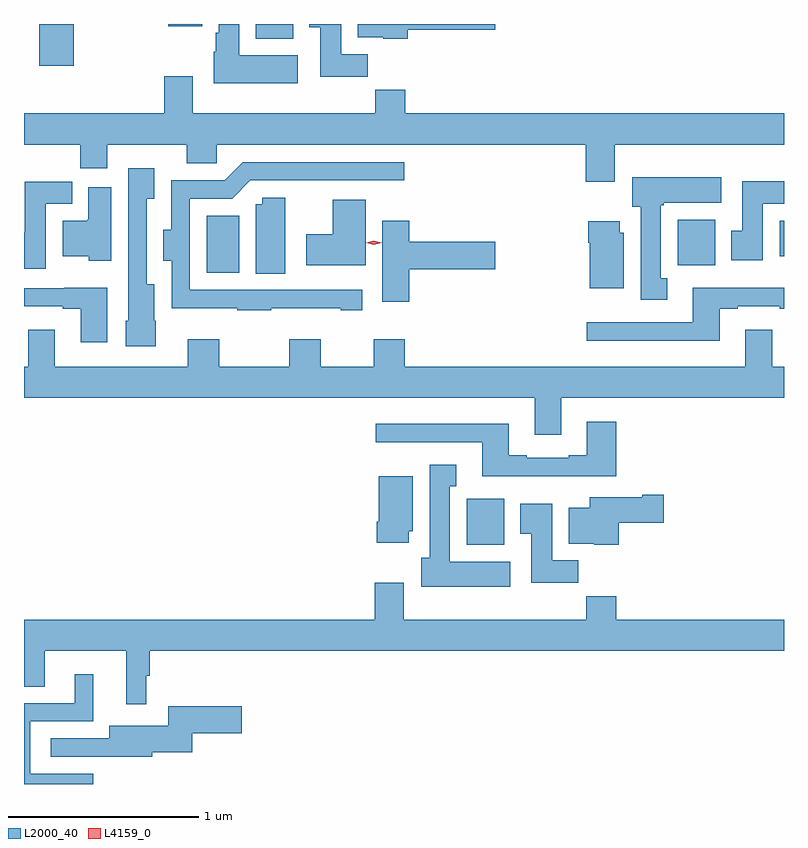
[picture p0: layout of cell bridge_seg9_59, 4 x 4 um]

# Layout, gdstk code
import gdstk
lib = gdstk.Library(unit=1e-6, precision=1e-09)
def R(c, l, rs):  # rectangles x0, y0, x1, y1
    for r in rs: c.add(gdstk.rectangle(r[:2], r[2:], *l))
def P(c, l, *ps):  # polygons
    for p in ps: c.add(gdstk.Polygon(p, *l))
L2000_40 = (2000, 40)
L4159_0 = (4159, 0)

bridge_seg9_59 = lib.new_cell('bridge_seg9_59')
R(bridge_seg9_59, L2000_40, [(1091.768,1200.974,1091.965,1201.216), (1090.4,1202.405,1090.57,1202.707), (1092.878,1202.444,1093.075,1202.686), (1093.415,1202.492,1093.438,1202.68), (1089.518,1203.495,1089.701,1203.715), (1090.659,1203.638,1090.855,1203.715), (1090.196,1203.704,1090.375,1203.715)])
P(bridge_seg9_59, L2000_40, [(1091.246,1203.556),(1091.107,1203.556),(1091.107,1203.715),(1090.94,1203.715),(1090.94,1203.697),(1090.997,1203.697),(1090.997,1203.438),(1091.246,1203.438)],
  [(1091.459,1203.685),(1091.917,1203.685),(1091.917,1203.715),(1091.195,1203.715),(1091.195,1203.644),(1091.328,1203.644),(1091.328,1203.638),(1091.459,1203.638)],
  [(1090.879,1203.55),(1090.57,1203.55),(1090.57,1203.715),(1090.463,1203.715),(1090.463,1203.67),(1090.448,1203.67),(1090.448,1203.57),(1090.436,1203.57),(1090.436,1203.404),(1090.879,1203.404)],
  [(1092.547,1203.08),(1093.438,1203.08),(1093.438,1203.244),(1091.444,1203.244),(1091.444,1203.368),(1091.287,1203.368),(1091.287,1203.244),(1090.327,1203.244),(1090.327,1203.439),(1090.175,1203.439),(1090.175,1203.244),(1089.438,1203.244),(1089.438,1203.08),(1089.733,1203.08),(1089.733,1202.956),(1089.877,1202.956),(1089.877,1203.08),(1090.294,1203.08),(1090.294,1202.982),(1090.452,1202.982),(1090.452,1203.08),(1092.395,1203.08),(1092.395,1202.886),(1092.547,1202.886)],
  [(1090.739,1202.219),(1091.105,1202.219),(1091.105,1202.208),(1091.218,1202.208),(1091.218,1202.316),(1090.311,1202.316),(1090.311,1202.796),(1090.533,1202.796),(1090.629,1202.892),(1091.44,1202.892),(1091.44,1202.988),(1090.59,1202.988),(1090.494,1202.892),(1090.214,1202.892),(1090.214,1202.632),(1090.172,1202.632),(1090.172,1202.468),(1090.215,1202.468),(1090.215,1202.219),(1090.561,1202.219),(1090.561,1202.208),(1090.739,1202.208)],
  [(1090.132,1202.154),(1090.123,1202.154),(1090.123,1202.344),(1090.083,1202.344),(1090.083,1202.795),(1090.123,1202.795),(1090.123,1202.956),(1089.987,1202.956),(1089.987,1202.154),(1089.974,1202.154),(1089.974,1202.018),(1090.132,1202.018)],
  [(1092.823,1202.378),(1092.79,1202.378),(1092.79,1202.761),(1092.804,1202.761),(1092.804,1202.774),(1093.108,1202.774),(1093.108,1202.908),(1092.638,1202.908),(1092.638,1202.754),(1092.683,1202.754),(1092.683,1202.265),(1092.823,1202.265)],
  [(1093.327,1202.768),(1093.438,1202.768),(1093.438,1202.887),(1093.217,1202.887),(1093.217,1202.628),(1093.16,1202.628),(1093.16,1202.472),(1093.327,1202.472)],
  [(1089.553,1202.768),(1089.691,1202.768),(1089.691,1202.886),(1089.443,1202.886),(1089.443,1202.62),(1089.438,1202.62),(1089.438,1202.427),(1089.553,1202.427)],
  [(1089.898,1202.857),(1089.776,1202.857),(1089.776,1202.686),(1089.77,1202.686),(1089.77,1202.68),(1089.641,1202.68),(1089.641,1202.492),(1089.78,1202.492),(1089.78,1202.468),(1089.898,1202.468)],
  [(1090.813,1202.8),(1090.692,1202.8),(1090.692,1202.766),(1090.658,1202.766),(1090.658,1202.401),(1090.813,1202.401)],
  [(1091.236,1202.791),(1091.063,1202.791),(1091.063,1202.608),(1090.923,1202.608),(1090.923,1202.444),(1091.236,1202.444)],
  [(1091.465,1202.423),(1091.917,1202.423),(1091.917,1202.57),(1091.465,1202.57),(1091.465,1202.68),(1091.324,1202.68),(1091.324,1202.253),(1091.465,1202.253)],
  [(1092.595,1202.616),(1092.574,1202.616),(1092.574,1202.677),(1092.409,1202.677),(1092.409,1202.564),(1092.416,1202.564),(1092.416,1202.324),(1092.595,1202.324)],
  [(1089.877,1202.326),(1089.649,1202.326),(1089.649,1202.325),(1089.438,1202.325),(1089.438,1202.229),(1089.641,1202.229),(1089.641,1202.217),(1089.737,1202.217),(1089.737,1202.04),(1089.877,1202.04)],
  [(1093.099,1202.217),(1093.195,1202.217),(1093.195,1202.229),(1093.415,1202.229),(1093.415,1202.217),(1093.438,1202.217),(1093.438,1202.326),(1092.959,1202.326),(1092.959,1202.145),(1092.399,1202.145),(1092.399,1202.048),(1093.099,1202.048)],
  [(1092.265,1201.748),(1093.438,1201.748),(1093.438,1201.912),(1093.375,1201.912),(1093.375,1202.107),(1093.235,1202.107),(1093.235,1201.912),(1091.443,1201.912),(1091.443,1202.056),(1091.279,1202.056),(1091.279,1201.912),(1090.999,1201.912),(1090.999,1202.056),(1090.835,1202.056),(1090.835,1201.912),(1090.465,1201.912),(1090.465,1202.056),(1090.301,1202.056),(1090.301,1201.912),(1089.601,1201.912),(1089.601,1202.107),(1089.461,1202.107),(1089.461,1201.912),(1089.438,1201.912),(1089.438,1201.748),(1092.125,1201.748),(1092.125,1201.554),(1092.265,1201.554)],
  [(1092.554,1201.621),(1092.401,1201.621),(1092.401,1201.444),(1092.305,1201.444),(1092.305,1201.431),(1092.085,1201.431),(1092.085,1201.444),(1091.989,1201.444),(1091.989,1201.612),(1091.289,1201.612),(1091.289,1201.515),(1091.849,1201.515),(1091.849,1201.334),(1092.554,1201.334)],
  [(1091.998,1200.886),(1091.68,1200.886),(1091.68,1201.283),(1091.713,1201.283),(1091.713,1201.396),(1091.573,1201.396),(1091.573,1200.906),(1091.528,1200.906),(1091.528,1200.752),(1091.998,1200.752)],
  [(1091.464,1201.044),(1091.485,1201.044),(1091.485,1201.336),(1091.306,1201.336),(1091.306,1201.096),(1091.294,1201.096),(1091.294,1200.984),(1091.464,1200.984)],
  [(1092.569,1201.091),(1092.805,1201.091),(1092.805,1201.238),(1092.692,1201.238),(1092.692,1201.225),(1092.416,1201.225),(1092.416,1201.168),(1092.305,1201.168),(1092.305,1200.98),(1092.438,1200.98),(1092.438,1200.974),(1092.569,1200.974)],
  [(1092.356,1200.892),(1092.217,1200.892),(1092.217,1201.189),(1092.05,1201.189),(1092.05,1201.033),(1092.107,1201.033),(1092.107,1200.774),(1092.356,1200.774)],
  [(1090.081,1200.284),(1090.099,1200.284),(1090.099,1200.416),(1093.438,1200.416),(1093.438,1200.58),(1092.554,1200.58),(1092.554,1200.704),(1092.397,1200.704),(1092.397,1200.58),(1091.437,1200.58),(1091.437,1200.775),(1091.285,1200.775),(1091.285,1200.58),(1089.438,1200.58),(1089.438,1200.226),(1089.547,1200.226),(1089.547,1200.416),(1089.977,1200.416),(1089.977,1200.135),(1090.081,1200.135)],
  [(1089.802,1199.77),(1089.472,1199.77),(1089.472,1200.045),(1089.802,1200.045),(1089.802,1200.292),(1089.704,1200.292),(1089.704,1200.141),(1089.438,1200.141),(1089.438,1199.715),(1089.802,1199.715)],
  [(1090.114,1199.882),(1090.324,1199.882),(1090.324,1199.981),(1090.585,1199.981),(1090.585,1200.123),(1090.196,1200.123),(1090.196,1200.022),(1089.887,1200.022),(1089.887,1199.955),(1089.579,1199.955),(1089.579,1199.859),(1089.891,1199.859),(1089.891,1199.858),(1090.114,1199.858)])
P(bridge_seg9_59, L4159_0, [(1091.28,1202.554),(1091.24,1202.563),(1091.24,1202.564),(1091.24,1202.564),(1091.28,1202.574),(1091.32,1202.564),(1091.32,1202.564),(1091.32,1202.563)])

lib.write_gds('bridge_seg9_59.gds')
